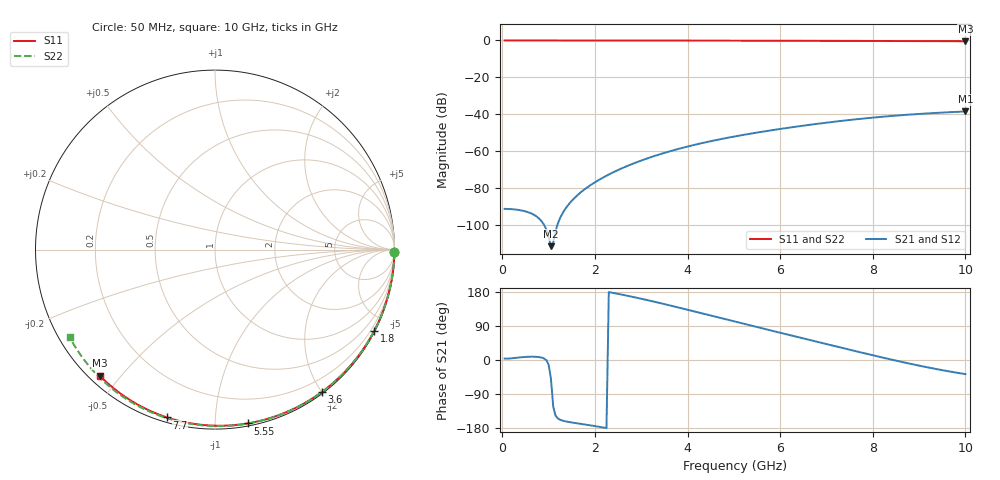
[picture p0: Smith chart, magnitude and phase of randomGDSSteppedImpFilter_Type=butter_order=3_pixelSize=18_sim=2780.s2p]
! freq	dB(S11)	phase(S11)	dB(S12)	phase(S12)
!  dB(S21)	phase(S21)	dB(S22)	phase(S22)
!S-par simulation data
#  GHz  S  DB  R 50
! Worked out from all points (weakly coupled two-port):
!   200 points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, 50 MHz to 10 GHz, reference 50 ohm
!   highest |S21| = -38.55 dB at 10 GHz (marker M1); lowest = -111.7 dB at 1.05 GHz (marker M2)
!   lowest |S11| = -0.4 dB at 10 GHz (marker M3), VSWR 40.41, Z = 1.48 - j22 ohm
!   |S11| at or under -10 dB: nowhere
!   |S22| runs from -0.5 to 0.0 dB; largest |S21 - S12| = 0
!   S11 on the Smith chart (normalised r, x): 50 MHz: open; 1.8 GHz: 0.04, -4.13; 3.6 GHz: 0.02, -2.00; 5.55 GHz: 0.02, -1.20; 7.7 GHz: 0.02, -0.75; 10 GHz: 0.03, -0.44
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0.05  -0.00 -0.8  -91.43 3.8  -91.43 3.8  -0.00 -0.9
0.55  -0.01 -8.4  -93.19 8.4  -93.19 8.4  -0.01 -9.5
1.05  -0.02 -16.0  -111.69 -48.8  -111.69 -48.8  -0.02 -18.1
1.75  -0.03 -26.5  -81.35 -169.6  -81.35 -169.6  -0.04 -29.9
1.8  -0.03 -27.2  -80.39 -170.5  -80.39 -170.5  -0.04 -30.7
1.85  -0.04 -27.9  -79.49 -171.4  -79.49 -171.4  -0.04 -31.5
2.05  -0.04 -30.9  -76.23 -175.4  -76.23 -175.4  -0.04 -34.9
2.2  -0.04 -33.1  -74.09 -178.6  -74.09 -178.6  -0.05 -37.3
2.55  -0.05 -38.2  -69.77 173.3  -69.77 173.3  -0.06 -43.1
2.95  -0.06 -44.0  -65.66 163.0  -65.66 163.0  -0.06 -49.6
3.4  -0.07 -50.4  -61.81 150.4  -61.81 150.4  -0.07 -56.7
3.6  -0.07 -53.2  -60.30 144.6  -60.30 144.6  -0.08 -59.9
3.9  -0.08 -57.3  -58.24 135.6  -58.24 135.6  -0.09 -64.5
4.3  -0.09 -62.8  -55.80 123.5  -55.80 123.5  -0.10 -70.6
5.05  -0.11 -72.9  -51.97 100.6  -51.97 100.6  -0.12 -81.8
5.55  -0.13 -79.4  -49.81 85.4  -49.81 85.4  -0.14 -89.1
6.1  -0.15 -86.4  -47.68 68.9  -47.68 68.9  -0.17 -96.9
6.7  -0.18 -93.9  -45.59 51.0  -45.59 51.0  -0.20 -105.2
7.7  -0.24 -106.0  -42.64 21.3  -42.64 21.3  -0.27 -118.7
8.35  -0.29 -113.7  -41.11 2.5  -41.11 2.5  -0.32 -127.3
9.2  -0.36 -123.4  -39.58 -19.8  -39.58 -19.8  -0.40 -138.5
10  -0.43 -132.4  -38.55 -37.3  -38.55 -37.3  -0.49 -149.0
